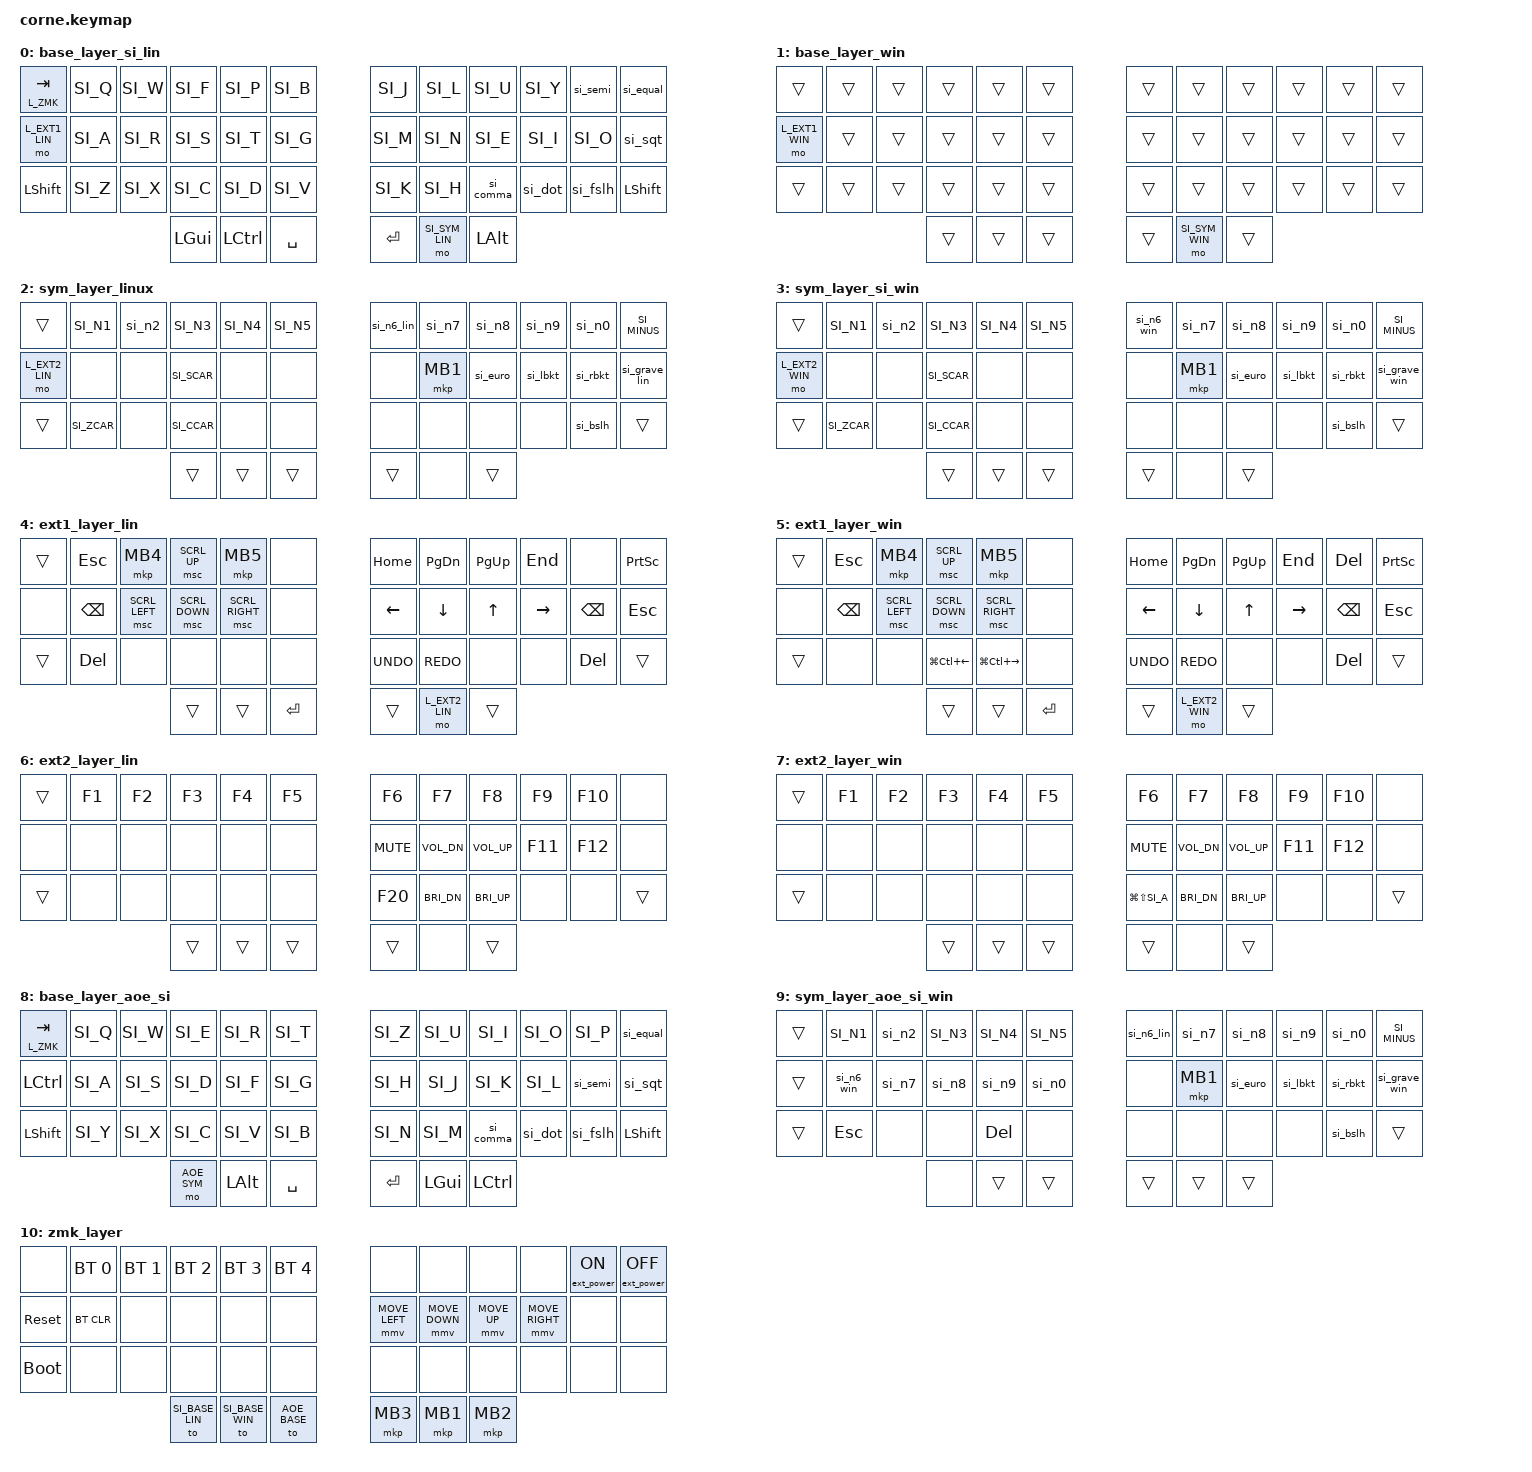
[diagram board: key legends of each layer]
/*
 * Copyright (c) 2020 The ZMK Contributors
 *
 * SPDX-License-Identifier: MIT
 *
 *
 ***************************************************************************************************
 * Slovenian Colemak-DH angle mode variation
 ***************************************************************************************************
 * Host layout: SI
 *
 ***************************************************************************************************
 * Base layer:
 ***************************************************************************************************
 *  +--------+--------+--------+--------+--------+--------+             +--------+--------+--------+--------+--------+--------+
 *  | TAB    |  q  Q  |  w  W  |  f  F  |  p  P  |  b  B  |             |  j  J  |  l  L  |  u  U  |  y  Y  |  ;  :  |  =  +  |
 *  +--------+--------+--------+--------+--------+--------+             +--------+--------+--------+--------+--------+--------+
 *  | EXT1   |  a  A  |  r  R  |  s  S  |  t  T  |  g  G  |             |  m  M  |  n  N  |  e  E  |  i  I  |  o  O  |  '  "  |
 *  +--------+--------+--------+--------+--------+--------+             +--------+--------+--------+--------+--------+--------+
 *  | Shift  |  z  Z  |  x  X  |  c  C  |  d  D  |  v  V  |             |  k  K  |  h  H  |  ,  <  |  .  >  |  /  ?  | Shift  |
 *  +--------+--------+--------+----+---+----+---+----+---+----+   +----+---+----+---+----+---+----+--------+--------+--------+
 *                                  | Win    | Ctrl   | Space  |   | Enter  | SYM    | L Alt  |
 *                                  +--------+--------+--------+   +--------+--------+--------+
 *
 ***************************************************************************************************
 * Symbols layer:
 ***************************************************************************************************
 *  +--------+--------+--------+--------+--------+--------+             +--------+--------+--------+--------+--------+--------+
 *  | TAB    |  1  !  |  2  @  |  3  #  |  4  $  |  5  %  |             |  6  ^  |  7  &  |  8  *  |  9  (  |  0  )  |  -  _  |
 *  +--------+--------+--------+--------+--------+--------+             +--------+--------+--------+--------+--------+--------+
 *  | EXT2   |        |        |  š  Š  |        |        |             |        | MB1    |  €  °  |  [  {  |  ]  }  |  `  ~  |
 *  +--------+--------+--------+--------+--------+--------+             +--------+--------+--------+--------+--------+--------+
 *  | Shift  |  ž  Ž  |        |  č  Č  |        |        |             |        |        |        |        |  \  |  | Shift  |
 *  +--------+--------+--------+----+---+----+---+----+---+----+   +----+---+----+---+----+---+----+--------+--------+--------+
 *                                  | Win    | Ctrl   | Space  |   | Enter  | XXX    | L Alt  |
 *                                  +--------+--------+--------+   +--------+--------+--------+
 *
 ***************************************************************************************************
 * Extend layer 1:
 ***************************************************************************************************
 *  +--------+--------+--------+--------+--------+--------+             +--------+--------+--------+--------+--------+--------+
 *  | TAB    | ESC    | MB4    | WhUp   | MB5    |        |             | Home   | PgDn   | PgUp   | End    |        | Print  |
 *  +--------+--------+--------+--------+--------+--------+             +--------+--------+--------+--------+--------+--------+
 *  | XXX    | Back   | WhLeft | WhDown | WhRight|        |             | Left   | Down   | Up     | Right  | Back   | ESC    |
 *  +--------+--------+--------+--------+--------+--------+             +--------+--------+--------+--------+--------+--------+
 *  | Shift  | Del    |        | L Desk | R desk |        |             | Undo   | Redo   |        |        | Del    | Shift  |
 *  +--------+--------+--------+----+---+----+---+----+---+----+   +----+---+----+---+----+---+----+--------+--------+--------+
 *                                  | Win    | Ctrl   | Enter  |   | Enter  | EXT2   | L Alt  |
 *                                  +--------+--------+--------+   +--------+--------+--------+
 *
 ***************************************************************************************************
 * Extend layer 2:
 ***************************************************************************************************
 *  +--------+--------+--------+--------+--------+--------+             +--------+--------+--------+--------+--------+--------+
 *  | TAB    | F1     | F2     | F3     | F4     | F5     |             | F6     | F7     | F8     | F9     | F10    |        |
 *  +--------+--------+--------+--------+--------+--------+             +--------+--------+--------+--------+--------+--------+
 *  | XXX    |        |        |        |        |        |             | Vol    | Vol Dn | Vol Up | F11    | F12    |        |
 *  |        |        |        |        |        |        |             | Mute   |        |        |        |        |        |
 *  +--------+--------+--------+--------+--------+--------+             +--------+--------+--------+--------+--------+--------+
 *  | Shift  |        |        |        |        |        |             | Mic    | Bri Dn | Bri Up |        |        | Shift  |
 *  |        |        |        |        |        |        |             | Mute   |        |        |        |        |        |
 *  +--------+--------+--------+----+---+----+---+----+---+----+   +----+---+----+---+----+---+----+--------+--------+--------+
 *                                  | Win    | Ctrl   | Enter  |   | Enter  | XXX    | L Alt  |
 *                                  +--------+--------+--------+   +--------+--------+--------+
 *
 ***************************************************************************************************
 * ZMK layer:
 ***************************************************************************************************
 *  +--------+--------+--------+--------+--------+--------+             +--------+--------+--------+--------+--------+--------+
 *  | XXX    | BT 0   | BT 1   | BT 2   | BT 3   | BT 4   |             |        |        |        |        | EP ON  | EP OFF |
 *  +--------+--------+--------+--------+--------+--------+             +--------+--------+--------+--------+--------+--------+
 *  | Reset  | BT CLR |        |        |        |        |             | MLeft  | MDown  | MUp    | MRight |        |        |
 *  +--------+--------+--------+--------+--------+--------+             +--------+--------+--------+--------+--------+--------+
 *  | Bootl  |        |        |        |        |        |             |        |        |        |        |        |        |
 *  +--------+--------+--------+----+---+----+---+----+---+----+   +----+---+----+---+----+---+----+--------+--------+--------+
 *                                  | To SI  | To SI  | To AoE |   | MB3    | MB1    | MB2    |
 *                                  | Linux  | Win    |        |   |        |        |        |
 *                                  +--------+--------+--------+   +--------+--------+--------+
 *
 * - `BT 0-4`: Select the x bluetooth profile
 * - `BT CLR`: Clear bond between the keyboard and the host for the selected profile
 * - `Reset`: Reset this side of the keyboard
 * - `Bootl`: Reset this side of the keyboard to bootloader mode
 * - `EP ON`: Enable external power (enable VCC power output)
 * - `To SI Linux`: Switch keyboard layout to match SI host layout, Linux host
 * - `To SI Win`: Switch keyboard layout to match SI host layout, Windows host
 * - `EP OFF`: Disable external power (disable VCC power output)
 *
 ***************************************************************************************************
 * Notes:
 ***************************************************************************************************
 * - EXT2 layer is accessible when pressing: 'EXT' + 'SYM'
 * - ZMK layer is accessible when holding TAB key
 * - Double tap on SHIFT key toggles CAPS_LOCK (currently disabled, pressed accidentally too many times)
 * - Difference between "SI Linux" and "SI Windows" is in how a few special characters
 *   are implemented but for the end use there should be no difference
 *
 *   - `si_n6_lin`    -> `si_n6_win` (`^`)
 *   - `si_grave_lin` -> `si_grave_win` (`\``, `~`)
 *   - microphone mute (F20 -> Win+Shift+A)
 *     Linux: KC_F20 should work as XF86AudioMicMute on most linux distributions - https://github.com/qmk/qmk_firmware/issues/17749#issuecomment-1192446662
 *     Windows: Win+Shift+A as this is default shortcut for Video Conference Mute (VCM) in PowerToys
 *              (this means you need to install PowerToys and enable VCM)
 *
 ***************************************************************************************************
 * TODO:
 ***************************************************************************************************
 * - wheel up/down not working
 *
 */

#include <behaviors.dtsi>
#include <dt-bindings/zmk/keys.h>
#include <dt-bindings/zmk/bt.h>
#include <dt-bindings/zmk/ext_power.h>
#include <dt-bindings/zmk/pointing.h>
#include "keys_si.h"


#define xxx &none
#define ___ &trans


#define SI_BASE_LIN 0  // Base layer, host layout: SI, Linux host
#define SI_BASE_WIN 1  // Base layer, host layout: SI, Windows host
#define SI_SYM_LIN  2  // Symbols layer, host layout: SI, Linux host
#define SI_SYM_WIN  3  // Symbols layer, host layout: SI, Windows host
#define L_EXT1_LIN  4  // Extend layer 1: Linux host
#define L_EXT1_WIN  5  // Extend layer 1: Windows host
#define L_EXT2_LIN  6  // Extend layer 2: Linux host
#define L_EXT2_WIN  7  // Extend layer 2: Windows host
#define AOE_BASE    8  // Base AoE layer, host layout: SI, Windows host
#define AOE_SYM     9  // Symbols AoE layer, host layout: SI, Windows host
#define L_ZMK      10  // ZMK layer

#define _MIC_MUTE_WIN  LG(LS(SI_A))
#define _TOLDSK LG(LC(LEFT))   // Move to left desktop on Windows (WIN + CTRL + LEFT)
#define _TORDSK LG(LC(RIGHT))  // Move to right desktop on Windows (WIN + CTRL + RIGHT)

// Go to ZMK layer when holding TAB key
// On tap: TAB
// On hold: L_ZMK (ZMK layer)
#define TAB_L_ZMK  &lt L_ZMK TAB

/ {
    behaviors {
        #include "behaviors_mod_morph.dtsi"

        shft_caps: tap_dance_shift_caps_lock_toggle {
            compatible = "zmk,behavior-tap-dance";
            label = "TAB_DANCE_SHIFT_CAPS_LOCK_TOGGLE";
            #binding-cells = <0>;
            tapping-term-ms = <200>;
            bindings = <&kp LSHFT>, <&kp CAPS>;
        };
    };

    keymap {
        compatible = "zmk,keymap";

        base_layer_si_lin {
// -----------------------------------------------------------------------------------------
// | TAB  |  Q  |  W  |  F  |  P   |  B  |    |  J  |  L   |  U  |  Y  | ; : | = +  |
// | EXT1 |  A  |  R  |  S  |  T   |  G  |    |  M  |  N   |  E  |  I  |  O  | ' "  |
// | SHFT |  Z  |  X  |  C  |  D   |  V  |    |  K  |  H   | , < | . > | / ? | SHFT |
//                    | GUI | CTRL | SPC |    | ENT | SYM  | ALT |
            bindings = <
   TAB_L_ZMK      &kp SI_Q &kp SI_W &kp SI_F &kp SI_P  &kp SI_B    &kp SI_J &kp SI_L       &kp SI_U  &kp SI_Y &si_semi &si_equal
   &mo L_EXT1_LIN &kp SI_A &kp SI_R &kp SI_S &kp SI_T  &kp SI_G    &kp SI_M &kp SI_N       &kp SI_E  &kp SI_I &kp SI_O &si_sqt
   &kp LSHFT      &kp SI_Z &kp SI_X &kp SI_C &kp SI_D  &kp SI_V    &kp SI_K &kp SI_H       &si_comma &si_dot  &si_fslh &kp LSHFT
                                    &kp LGUI &kp LCTRL &kp SPACE   &kp RET  &mo SI_SYM_LIN &kp LALT
            >;
        };
        // Changing only
        // - `SI_SYM_LIN`    -> `SI_SYM_WIN`
        // - `L_EXT1_LIN`    -> `L_EXT1_WIN`
        base_layer_win {
            bindings = <
   ___            ___ ___ ___ ___ ___   ___ ___            ___ ___ ___ ___
   &mo L_EXT1_WIN ___ ___ ___ ___ ___   ___ ___            ___ ___ ___ ___
   ___            ___ ___ ___ ___ ___   ___ ___            ___ ___ ___ ___
                          ___ ___ ___   ___ &mo SI_SYM_WIN ___
            >;
        };


        sym_layer_linux {
// ----------------------------------------------------------------------------------------
// | TAB  | 1 ! | 2 @ | 3 # | 4 $ | 5 % |    | 6 ^ | 7 & | 8 * | 9 ( | 0 ) | - _  |
// | EXT2 |     |     | Š Š |     |     |    |     | MB1 | € ° | [ { | ] } | ` ~  |
// | SHFT | ž ž |     | č Č |     |     |    |     |     |     |     | \ | | SHFT |
//                    | GUI |     | SPC |    | ENT | XXX | ALT |
            bindings = <
   ___            &kp SI_N1   &si_n2 &kp SI_N3   &kp SI_N4 &kp SI_N5      &si_n6_lin &si_n7   &si_n8   &si_n9   &si_n0   &kp SI_MINUS
   &mo L_EXT2_LIN xxx         xxx    &kp SI_SCAR xxx       xxx            xxx        &mkp MB1 &si_euro &si_lbkt &si_rbkt &si_grave_lin
   ___            &kp SI_ZCAR xxx    &kp SI_CCAR xxx       xxx            xxx        xxx      xxx      xxx      &si_bslh ___
                                     ___         ___       ___            ___        xxx      ___
            >;
        };
        // Changing only
        // - `L_EXT2_LIN`    -> `L_EXT2_WIN`
        // - `&si_n6_lin`    -> `&si_n6_win`
        // - `&si_grave_lin` -> `&si_grave_win`
        sym_layer_si_win {
            bindings = <
   ___            &kp SI_N1   &si_n2 &kp SI_N3   &kp SI_N4 &kp SI_N5      &si_n6_win &si_n7   &si_n8   &si_n9   &si_n0   &kp SI_MINUS
   &mo L_EXT2_WIN xxx         xxx    &kp SI_SCAR xxx       xxx            xxx        &mkp MB1 &si_euro &si_lbkt &si_rbkt &si_grave_win
   ___            &kp SI_ZCAR xxx    &kp SI_CCAR xxx       xxx            xxx        xxx      xxx      xxx      &si_bslh ___
                                     ___         ___       ___            ___        xxx      ___
            >;
        };


        ext1_layer_lin {
// -----------------------------------------------------------------------------------------
// | TAB  | Esc   | MB4    | WhUp   | MB5    |        |    | Home   | PgDown | PgUp  | End   |      | Print |
// | XXX  | Back  | WhLeft | WhDown | WhRight|        |    | Left   | Down   | Up    | Right | Back | Esc   |
// | SHFT | Del   |        | TOLDSK | TORDSK |        |    | Undo   | Redo   |       |       | Del  |       |
//                         | GUI    | CTRL   | Enter  |    | Enter  | EXT2   | L ALT |
            bindings = <
   ___ &kp ESC  &mkp MB4       &msc SCRL_UP   &mkp MB5        xxx          &kp HOME &kp PG_DN      &kp PG_UP &kp END   xxx      &kp PSCRN
   xxx &kp BSPC &msc SCRL_LEFT &msc SCRL_DOWN &msc SCRL_RIGHT xxx          &kp LEFT &kp DOWN       &kp UP    &kp RIGHT &kp BSPC &kp ESC
   ___ &kp DEL  xxx            xxx            xxx             xxx          &kp UNDO &kp K_REDO     xxx       xxx       &kp DEL  ___
                               ___            ___             &kp RET      ___      &mo L_EXT2_LIN ___
            >;
        };
        // Changing only
        // - `L_EXT2_LIN`    -> `L_EXT2_WIN`
        // Adding
        // - `_TOLDSK`
        // - `_TORDSK`
        ext1_layer_win {
            bindings = <
   ___ &kp ESC  &mkp MB4       &msc SCRL_UP   &mkp MB5        xxx          &kp HOME &kp PG_DN      &kp PG_UP &kp END   &kp DEL  &kp PSCRN
   xxx &kp BSPC &msc SCRL_LEFT &msc SCRL_DOWN &msc SCRL_RIGHT xxx          &kp LEFT &kp DOWN       &kp UP    &kp RIGHT &kp BSPC &kp ESC
   ___ xxx      xxx            &kp _TOLDSK    &kp _TORDSK     xxx          &kp UNDO &kp K_REDO     xxx       xxx       &kp DEL  ___
                               ___            ___             &kp RET      ___      &mo L_EXT2_WIN ___
            >;
        };


        ext2_layer_lin {
// -----------------------------------------------------------------------------------------
// | TAB  | F1    | F2     | F3     | F4     | F5     |    | F6       | F7       | F8     | F9      | F10  |       |
// | XXX  |       |        |        |        |        |    | Vol Mute | Vol Down | Vol Up | F11     | F12  |       |
// | SHFT |       |        |        |        |        |    | Mic Mute | Bri Down | Bri Up | Bri Min |      |       |
//                         | GUI    | CTRL   | Enter  |    | Enter    | XXX      | L ALT  |
            bindings = <
   ___ &kp F1 &kp F2 &kp F3 &kp F4 &kp F5       &kp F6     &kp F7       &kp F8       &kp F9  &kp F10 xxx
   xxx xxx    xxx    xxx    xxx    xxx          &kp C_MUTE &kp C_VOL_DN &kp C_VOL_UP &kp F11 &kp F12 xxx
   ___ xxx    xxx    xxx    xxx    xxx          &kp F20    &kp C_BRI_DN &kp C_BRI_UP xxx     xxx     ___
                     ___    ___    ___          ___        xxx          ___
            >;
        };
        // Changing only
        // - `F20` -> `_MIC_MUTE_WIN`
        ext2_layer_win {
            bindings = <
   ___ &kp F1 &kp F2 &kp F3 &kp F4 &kp F5       &kp F6            &kp F7       &kp F8       &kp F9  &kp F10 xxx
   xxx xxx    xxx    xxx    xxx    xxx          &kp C_MUTE        &kp C_VOL_DN &kp C_VOL_UP &kp F11 &kp F12 xxx
   ___ xxx    xxx    xxx    xxx    xxx          &kp _MIC_MUTE_WIN &kp C_BRI_DN &kp C_BRI_UP xxx     xxx     ___
                     ___    ___    ___          ___               xxx          ___
            >;
        };

        base_layer_aoe_si {
// -----------------------------------------------------------------------------------------
// | TAB  |  Q  |  W  |  E   |  R  |  T  |    |  Z  |  U   |  I   |  O  |  P  | = +  |
// | CTRL |  A  |  S  |  D   |  F  |  G  |    |  H  |  J   |  K   |  L  | ; : | ' "  |
// | SHFT |  Y  |  X  |  C   |  V  |  B  |    |  N  |  M   | , <  | . > | / ? | SHFT |
//                    | SYM2 | ALT | SPC |    | ENT | GUI  | CTRL |
            bindings = <
   TAB_L_ZMK &kp SI_Q &kp SI_W &kp SI_E    &kp SI_R &kp SI_T    &kp SI_Z &kp SI_U &kp SI_I  &kp SI_O &kp SI_P &si_equal
   &kp LCTRL &kp SI_A &kp SI_S &kp SI_D    &kp SI_F &kp SI_G    &kp SI_H &kp SI_J &kp SI_K  &kp SI_L &si_semi &si_sqt
   &kp LSHFT &kp SI_Y &kp SI_X &kp SI_C    &kp SI_V &kp SI_B    &kp SI_N &kp SI_M &si_comma &si_dot  &si_fslh &kp LSHFT
                               &mo AOE_SYM &kp LALT &kp SPACE   &kp RET  &kp LGUI &kp LCTRL
            >;
        };

        sym_layer_aoe_si_win {
// ----------------------------------------------------------------------------------------
// | TAB  | 1 ! | 2 @ | 3 # | 4 $ | 5 % |    | 6 ^ | 7 & | 8 *  | 9 ( | 0 ) | - _  |
// | CTRL | 6   | 7   | 8   | 9   | 9   |    |     | MB1 | € °  | [ { | ] } | ` ~  |
// | SHFT |     |     |     |     |     |    |     |     |      |     | \ | | SHFT |
//                    | XXX | ALT | SPC |    | ENT | GUI | CTRL |
            bindings = <
   ___ &kp SI_N1  &si_n2 &kp SI_N3 &kp SI_N4 &kp SI_N5      &si_n6_lin &si_n7   &si_n8   &si_n9   &si_n0   &kp SI_MINUS
   ___ &si_n6_win &si_n7 &si_n8    &si_n9    &si_n0         xxx        &mkp MB1 &si_euro &si_lbkt &si_rbkt &si_grave_win
   ___ &kp ESC    xxx    xxx       &kp DEL   xxx            xxx        xxx      xxx      xxx      &si_bslh ___
                         xxx       ___       ___            ___        ___      ___
            >;
        };

        zmk_layer {
// -----------------------------------------------------------------------------------------
// | XXX   | BT 0  | BT 1   | BT 2      | BT 3      | BT 4   |        |       |       |      |        | EP ON | EP OFF |
// | Reset | BTCLR |        |           |           |        |        | MLeft | MDown | MUp  | MRight |       |        |
// | Bootl |       |        |           |           |        |        |       |       |      |        |       |        |
//                          | TO SI Lin | To SI Win | To AoE |        | MB3   | MB1   | MB2  |
            bindings = <
   xxx         &bt BT_SEL 0 &bt BT_SEL 1 &bt BT_SEL 2    &bt BT_SEL 3    &bt BT_SEL 4     xxx            xxx            xxx          xxx             &ext_power EP_ON &ext_power EP_OFF
   &sys_reset  &bt BT_CLR   xxx          xxx             xxx             xxx              &mmv MOVE_LEFT &mmv MOVE_DOWN &mmv MOVE_UP &mmv MOVE_RIGHT xxx              xxx
   &bootloader xxx          xxx          xxx             xxx             xxx              xxx            xxx            xxx          xxx             xxx              xxx
                                         &to SI_BASE_LIN &to SI_BASE_WIN &to AOE_BASE     &mkp MB3       &mkp MB1       &mkp MB2
            >;
        };
    };
};
